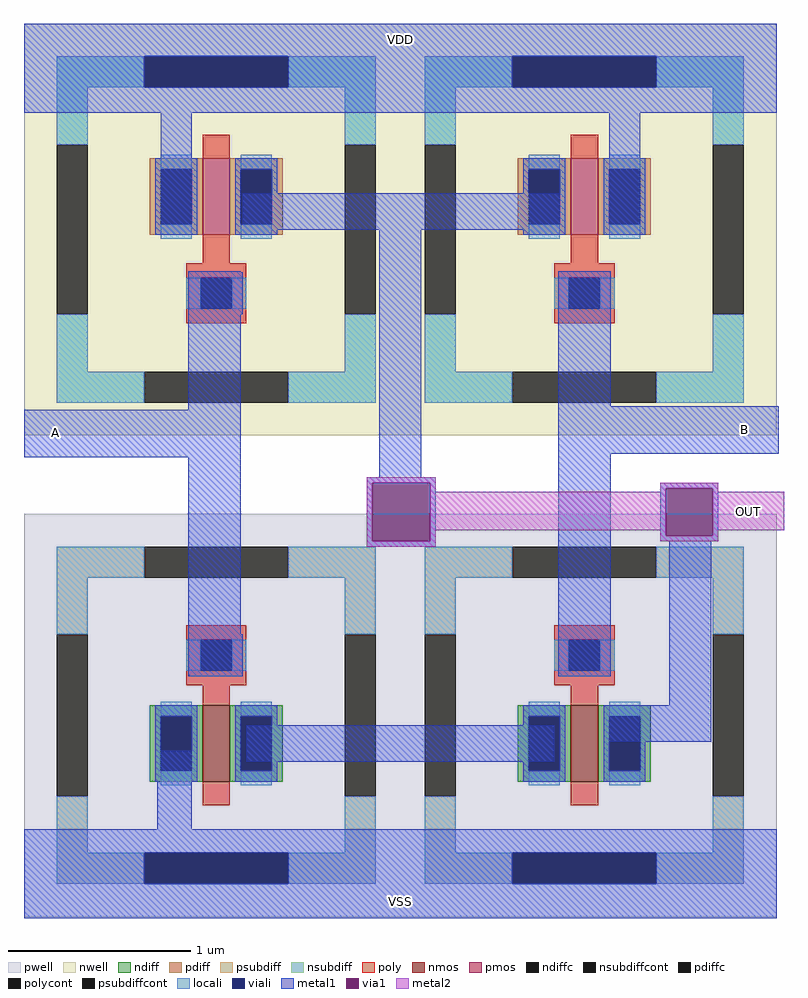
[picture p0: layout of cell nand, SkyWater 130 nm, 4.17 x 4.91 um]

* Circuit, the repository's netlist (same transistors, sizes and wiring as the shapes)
* SPICE3 file created from nand.ext - technology: sky130A

*.subckt nand OUT VDD VSS
X0 OUT m1_1070_58# m1_726_n34# VSS sky130_fd_pr__nfet_01v8 ad=0.122 pd=1.42 as=0.122 ps=1.42 w=0.42 l=0.15
X1 OUT m1_1070_58# VDD VDD sky130_fd_pr__pfet_01v8 ad=0.122 pd=1.42 as=0.122 ps=1.42 w=0.42 l=0.15
X2 m1_726_n34# m1_670_62# VSS VSS sky130_fd_pr__nfet_01v8 ad=0.244 pd=2.84 as=0.122 ps=1.42 w=0.42 l=0.15
X3 OUT m1_670_62# VDD VDD sky130_fd_pr__pfet_01v8 ad=0.244 pd=2.84 as=0.244 ps=2.84 w=0.42 l=0.15
*.ends

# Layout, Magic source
magic
tech sky130A
magscale 1 2
<< viali >>
rect 610 778 768 812
rect 1014 778 1172 812
rect 610 -96 768 -62
rect 1014 -96 1172 -62
<< metal1 >>
rect 478 812 1304 848
rect 478 778 610 812
rect 768 778 1014 812
rect 1172 778 1304 812
rect 478 750 1304 778
rect 628 628 662 750
rect 718 622 1066 662
rect 1120 628 1154 750
rect 658 424 716 576
rect 478 372 716 424
rect 658 132 716 372
rect 868 350 914 622
rect 1064 428 1122 576
rect 1064 376 1306 428
rect 854 344 930 350
rect 854 280 860 344
rect 924 280 930 344
rect 854 274 930 280
rect 1064 132 1122 376
rect 1176 338 1240 344
rect 1176 286 1182 338
rect 1234 286 1240 338
rect 1176 280 1240 286
rect 1186 100 1232 280
rect 624 -36 662 50
rect 722 38 1060 78
rect 1118 60 1232 100
rect 478 -62 1304 -36
rect 478 -96 610 -62
rect 768 -96 1014 -62
rect 1172 -96 1304 -62
rect 478 -134 1304 -96
<< via1 >>
rect 860 280 924 344
rect 1182 286 1234 338
<< metal2 >>
rect 854 344 930 350
rect 854 280 860 344
rect 924 334 930 344
rect 1176 338 1240 344
rect 1176 334 1182 338
rect 924 292 1182 334
rect 924 280 930 292
rect 1176 286 1182 292
rect 1234 334 1240 338
rect 1234 292 1312 334
rect 1234 286 1240 292
rect 1176 280 1240 286
rect 854 274 930 280
use sky130_fd_pr__nfet_01v8_L78EGD  sky130_fd_pr__nfet_01v8_L78EGD_0
transform 1 0 1093 0 1 89
box -211 -221 211 221
use sky130_fd_pr__pfet_01v8_2ZD9BZ  sky130_fd_pr__pfet_01v8_2ZD9BZ_0
transform 1 0 689 0 1 622
box -211 -226 211 226
use sky130_fd_pr__pfet_01v8_2ZD9BZ  XM2
transform -1 0 1093 0 1 622
box -211 -226 211 226
use sky130_fd_pr__nfet_01v8_L78EGD  XM4
transform 1 0 689 0 1 89
box -211 -221 211 221
<< labels >>
flabel metal1 478 812 1304 848 0 FreeSans 160 0 0 0 VDD
port 3 nsew
flabel metal2 1234 292 1312 334 0 FreeSans 160 0 0 0 OUT
port 2 nsew
flabel metal1 478 -134 1304 -96 0 FreeSans 160 0 0 0 VSS
port 5 nsew
flabel metal1 480 378 546 420 0 FreeSans 160 0 0 0 A
port 6 nsew
flabel metal1 1236 382 1302 424 0 FreeSans 160 0 0 0 B
port 8 nsew
<< end >>

# cell sky130_fd_pr__nfet_01v8_L78EGD: kit device sky130_fd_pr__nfet_01v8, w 0.42 l 0.15 m 1 nf 1 diffcov 100 polycov 100 guard 1 glc 1 grc 1 gtc 1 gbc 1 tbcov 100 rlcov 100 topc 1 botc 0 poverlap 0 doverlap 1 lmin 0.15 wmin 0.42 compatible {sky130_fd_pr__nfet_01v8 sky130_fd_pr__nfet_01v8_lvt sky130_fd_bs_flash__special_sonosfet_star sky130_fd_pr__nfet_g5v0d10v5 sky130_fd_pr__nfet_05v0_nvt sky130_fd_pr__nfet_03v3_nvt} full_metal 1 viasrc 100 viadrn 100 viagate 100 viagb 0 viagr 0 viagl 0 viagt 0

# cell sky130_fd_pr__pfet_01v8_2ZD9BZ: kit device sky130_fd_pr__pfet_01v8, w 0.42 l 0.15 m 1 nf 1 diffcov 100 polycov 100 guard 1 glc 1 grc 1 gtc 1 gbc 1 tbcov 100 rlcov 100 topc 0 botc 1 poverlap 0 doverlap 1 lmin 0.15 wmin 0.42 compatible {sky130_fd_pr__pfet_01v8 sky130_fd_pr__pfet_01v8_lvt sky130_fd_pr__pfet_01v8_hvt sky130_fd_pr__pfet_g5v0d10v5} full_metal 1 viasrc 100 viadrn 100 viagate 100 viagb 0 viagr 0 viagl 0 viagt 0
